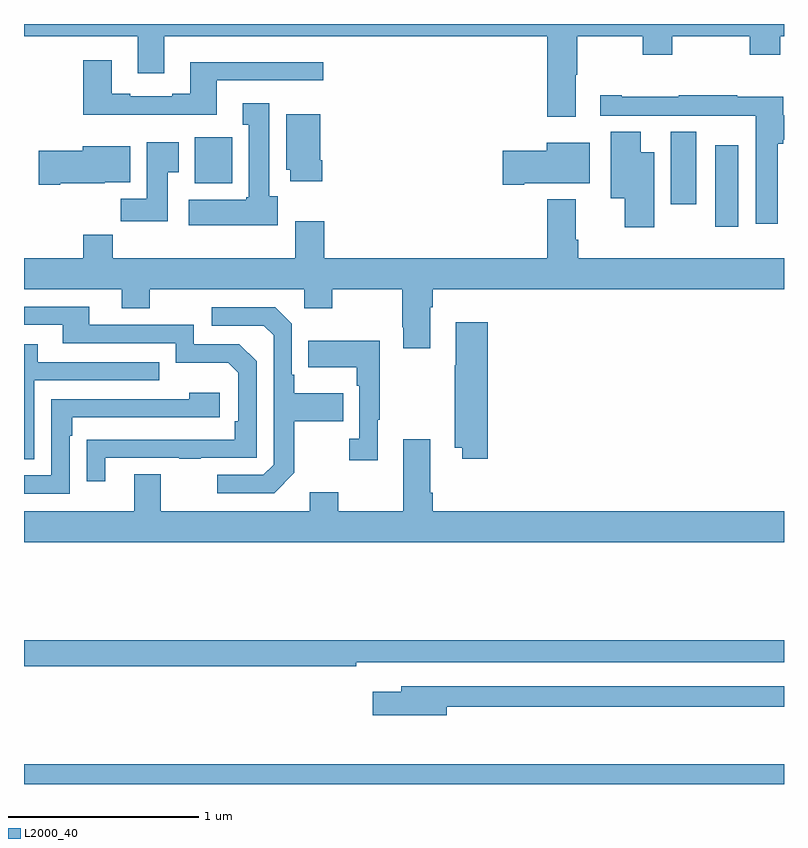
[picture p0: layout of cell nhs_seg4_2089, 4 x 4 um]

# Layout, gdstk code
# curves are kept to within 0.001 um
import gdstk
lib = gdstk.Library(unit=1e-6, precision=1e-09)
def R(c, l, rs):  # rectangles x0, y0, x1, y1
    for r in rs: c.add(gdstk.rectangle(r[:2], r[2:], *l))
def P(c, l, *ps):  # polygons
    for p in ps: c.add(gdstk.Polygon(p, *l))
L2000_40 = (2000, 40)

nhs_seg4_2089 = lib.new_cell('nhs_seg4_2089')
R(nhs_seg4_2089, L2000_40, [(219,776.9,223,777.004), (222.638,779.832,222.76,780.262), (222.404,779.952,222.538,780.332), (219.899,780.062,220.096,780.304)])
P(nhs_seg4_2089, L2000_40, [(221.905,780.632),(221.913,780.632),(221.913,780.836),(222.256,780.836),(222.256,780.737),(222.411,780.737),(222.411,780.836),(222.82,780.836),(222.82,780.737),(222.98,780.737),(222.98,780.836),(223,780.836),(223,780.9),(219,780.9),(219,780.836),(219.599,780.836),(219.599,780.642),(219.739,780.642),(219.739,780.836),(221.753,780.836),(221.753,780.411),(221.905,780.411)],
  [(220.015,780.603),(220.576,780.603),(220.576,780.7),(219.875,780.7),(219.875,780.532),(219.779,780.532),(219.779,780.519),(219.559,780.519),(219.559,780.532),(219.463,780.532),(219.463,780.709),(219.311,780.709),(219.311,780.422),(220.015,780.422)],
  [(222.968,780.269),(222.995,780.269),(222.995,780.292),(223,780.292),(223,780.421),(222.995,780.421),(222.995,780.516),(222.755,780.516),(222.755,780.526),(222.445,780.526),(222.445,780.516),(222.145,780.516),(222.145,780.526),(222.033,780.526),(222.033,780.417),(222.642,780.417),(222.642,780.416),(222.852,780.416),(222.852,779.85),(222.968,779.85)],
  [(220.336,779.994),(220.291,779.994),(220.291,780.484),(220.151,780.484),(220.151,780.371),(220.184,780.371),(220.184,779.988),(220.171,779.988),(220.171,779.974),(219.867,779.974),(219.867,779.84),(220.336,779.84)],
  [(220.571,780.184),(220.558,780.184),(220.558,780.424),(220.379,780.424),(220.379,780.132),(220.4,780.132),(220.4,780.072),(220.571,780.072)],
  [(222.316,780.226),(222.247,780.226),(222.247,780.332),(222.089,780.332),(222.089,779.984),(222.161,779.984),(222.161,779.829),(222.316,779.829)],
  [(219.757,780.121),(219.814,780.121),(219.814,780.277),(219.647,780.277),(219.647,779.98),(219.508,779.98),(219.508,779.862),(219.757,779.862)],
  [(221.632,780.062),(221.977,780.062),(221.977,780.274),(221.75,780.274),(221.75,780.233),(221.52,780.233),(221.52,780.055),(221.632,780.055)],
  [(219.19,780.062),(219.426,780.062),(219.426,780.068),(219.559,780.068),(219.559,780.256),(219.308,780.256),(219.308,780.233),(219.078,780.233),(219.078,780.055),(219.19,780.055)],
  [(221.137,779.408),(221.15,779.408),(221.15,779.504),(223,779.504),(223,779.668),(221.918,779.668),(221.918,779.764),(221.905,779.764),(221.905,779.977),(221.753,779.977),(221.753,779.668),(220.58,779.668),(220.58,779.863),(220.427,779.863),(220.427,779.668),(219.467,779.668),(219.467,779.792),(219.311,779.792),(219.311,779.668),(219,779.668),(219,779.504),(219.515,779.504),(219.515,779.405),(219.663,779.405),(219.663,779.504),(220.476,779.504),(220.476,779.405),(220.623,779.405),(220.623,779.504),(220.99,779.504),(220.99,779.305),(220.997,779.305),(220.997,779.193),(221.137,779.193)],
  [(219.427,778.617),(219.817,778.617),(219.817,778.612),(219.929,778.612),(219.929,778.617),(220.224,778.617),(220.224,779.124),(220.134,779.214),(219.894,779.214),(219.894,779.316),(219.343,779.316),(219.343,779.412),(219,779.412),(219,779.316),(219.203,779.316),(219.203,779.22),(219.798,779.22),(219.798,779.117),(220.075,779.117),(220.128,779.064),(220.128,778.81),(220.108,778.81),(220.108,778.713),(219.331,778.712),(219.331,778.494),(219.427,778.494)],
  [(220.423,778.537),(220.423,778.81),(220.679,778.81),(220.679,778.957),(220.423,778.957),(220.423,779.053),(220.41,779.053),(220.41,779.322),(220.323,779.409),(219.987,779.409),(219.987,779.313),(220.263,779.313),(220.314,779.262),(220.314,778.581),(220.26,778.527),(220.017,778.527),(220.017,778.431),(220.317,778.431)],
  [(221.441,779.329),(221.273,779.329),(221.273,779.105),(221.266,779.105),(221.266,778.67),(221.306,778.67),(221.306,778.611),(221.441,778.611)],
  [(220.861,778.817),(220.873,778.817),(220.873,779.233),(220.495,779.233),(220.495,779.093),(220.752,779.093),(220.752,778.997),(220.764,778.997),(220.764,778.718),(220.713,778.718),(220.713,778.605),(220.861,778.605)],
  [(219.054,779.025),(219.713,779.025),(219.713,779.121),(219.073,779.121),(219.073,779.215),(219,779.215),(219,778.609),(219.054,778.609)],
  [(219.24,778.733),(219.253,778.733),(219.253,778.83),(220.03,778.83),(220.03,778.96),(219.869,778.96),(219.869,778.926),(219.144,778.926),(219.144,778.524),(219,778.524),(219,778.428),(219.24,778.428)],
  [(223,778.336),(221.15,778.336),(221.15,778.432),(221.137,778.432),(221.137,778.714),(220.997,778.714),(220.997,778.336),(220.653,778.336),(220.653,778.435),(220.505,778.435),(220.505,778.336),(219.721,778.336),(219.721,778.531),(219.581,778.531),(219.581,778.336),(219,778.336),(219,778.172),(223,778.172)],
  [(220.748,777.54),(223,777.54),(223,777.656),(219,777.656),(219,777.52),(220.748,777.52)],
  [(221.224,777.306),(223,777.306),(223,777.414),(220.985,777.414),(220.985,777.385),(220.836,777.385),(220.836,777.263),(221.224,777.263)])

lib.write_gds('nhs_seg4_2089.gds')
